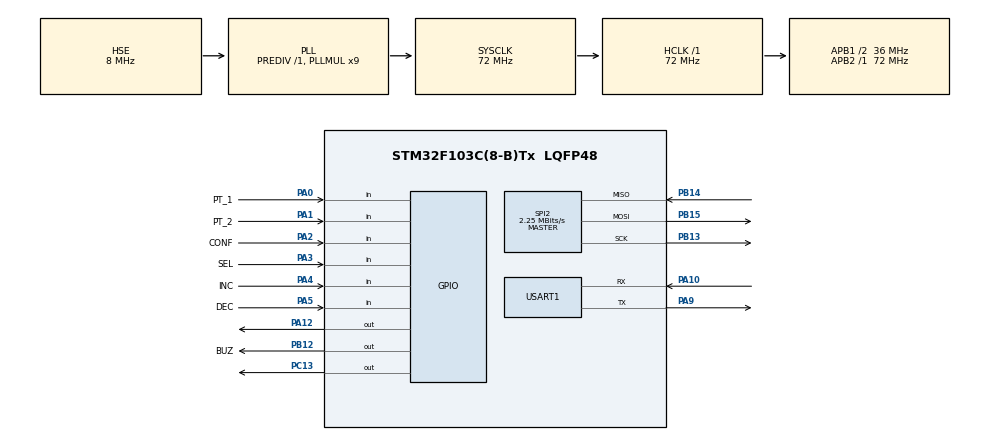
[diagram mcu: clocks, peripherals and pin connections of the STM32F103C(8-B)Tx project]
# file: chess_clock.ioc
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Mcu.Family=STM32F1
Mcu.Name=STM32F103C(8-B)Tx
Mcu.Package=LQFP48
NVIC.PriorityGroup=NVIC_PRIORITYGROUP_4
NVIC.TIM2_IRQn=true\:0\:0\:false\:false\:true\:true\:true\:true
PA0-WKUP.GPIO_Label=PT_1
PA0-WKUP.GPIO_PuPd=GPIO_PULLDOWN
PA0-WKUP.Signal=GPIO_Input
PA1.GPIO_Label=PT_2
PA1.GPIO_PuPd=GPIO_PULLDOWN
PA1.Signal=GPIO_Input
PA10.Mode=Asynchronous
PA10.Signal=USART1_RX
PA12.Signal=GPIO_Output
PA13.Mode=Serial_Wire
PA13.Signal=SYS_JTMS-SWDIO
PA14.Mode=Serial_Wire
PA14.Signal=SYS_JTCK-SWCLK
PA2.GPIO_Label=CONF
PA2.GPIO_PuPd=GPIO_PULLDOWN
PA2.Signal=GPIO_Input
PA3.GPIO_Label=SEL
PA3.GPIO_PuPd=GPIO_PULLDOWN
PA3.Signal=GPIO_Input
PA4.GPIO_Label=INC
PA4.GPIO_PuPd=GPIO_PULLDOWN
PA4.Signal=GPIO_Input
PA5.GPIO_Label=DEC
PA5.GPIO_PuPd=GPIO_PULLDOWN
PA5.Signal=GPIO_Input
PA9.Mode=Asynchronous
PA9.Signal=USART1_TX
PB12.GPIO_Label=BUZ
PB12.Signal=GPIO_Output
PB13.Mode=Full_Duplex_Master
PB13.Signal=SPI2_SCK
PB14.Mode=Full_Duplex_Master
PB14.Signal=SPI2_MISO
PB15.Mode=Full_Duplex_Master
PB15.Signal=SPI2_MOSI
PC13-TAMPER-RTC.Signal=GPIO_Output
PD0-OSC_IN.Mode=HSE-External-Oscillator
PD0-OSC_IN.Signal=RCC_OSC_IN
PD1-OSC_OUT.Mode=HSE-External-Oscillator
PD1-OSC_OUT.Signal=RCC_OSC_OUT
ProjectManager.HeapSize=0x200
ProjectManager.StackSize=0x400
ProjectManager.TargetToolchain=STM32CubeIDE
RCC.AHBFreq_Value=72000000
RCC.APB1CLKDivider=RCC_HCLK_DIV2
RCC.APB1Freq_Value=36000000
RCC.APB1TimFreq_Value=72000000
RCC.APB2Freq_Value=72000000
RCC.APB2TimFreq_Value=72000000
RCC.HCLKFreq_Value=72000000
RCC.PLLMUL=RCC_PLL_MUL9
RCC.PLLSourceVirtual=RCC_PLLSOURCE_HSE
RCC.SYSCLKFreq_VALUE=72000000
RCC.SYSCLKSource=RCC_SYSCLKSOURCE_PLLCLK
RCC.USBFreq_Value=72000000
SPI2.BaudRatePrescaler=SPI_BAUDRATEPRESCALER_16
SPI2.CalculateBaudRate=2.25 MBits/s
SPI2.Direction=SPI_DIRECTION_2LINES
SPI2.Mode=SPI_MODE_MASTER
SPI2.VirtualType=VM_MASTER
TIM2.Period=9999
TIM2.Prescaler=7199
USART1.VirtualMode=VM_ASYNC
VP_TIM2_VS_ClockSourceINT.Mode=Internal
board=custom

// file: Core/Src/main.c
/* USER CODE BEGIN Header */
/**
  ******************************************************************************
  * @file           : main.c
  * @brief          : Main program body
  ******************************************************************************
  * @attention
  *
  * Copyright (c) 2025 STMicroelectronics.
  * All rights reserved.
  *
  * This software is licensed under terms that can be found in the LICENSE file
  * in the root directory of this software component.
  * If no LICENSE file comes with this software, it is provided AS-IS.
  *
  ******************************************************************************
  */
/* USER CODE END Header */
#include "main.h"

/* USER CODE BEGIN Includes */
#include <stdbool.h>
#include <stdio.h>
#include <string.h>
#include "max7219.h"

#define FLASH_USER_START_ADDR   ((uint32_t)0x0800FC00)
#define MAX7219_CS_PORT GPIOA
#define MAX7219_CS_PIN GPIO_PIN_12

typedef struct {
    uint32_t player1_timer;
    uint32_t player2_timer;
    uint32_t last_timer;
    uint8_t  select_minute;
    uint8_t  enable_p1;
    uint8_t  enable_p2;
    uint32_t checksum;  // Verificação de integridade
} AppData_t;
/* USER CODE END Includes */

SPI_HandleTypeDef hspi2;

TIM_HandleTypeDef htim2;

UART_HandleTypeDef huart1;

/* USER CODE BEGIN PV */
int PLAYER_1_TIMER = 120, PLAYER_2_TIMER = 120;
int LAST_TIMER = 10;
bool SELECT_MINUTE = false;
bool ENABLE_PLAYER_1_TIMER = false, ENABLE_PLAYER_2_TIMER = false;
volatile bool IS_CONFIG_MODE = false;

// Estados anteriores dos botões
GPIO_PinState prev_PT1 = GPIO_PIN_RESET;
GPIO_PinState prev_PT2 = GPIO_PIN_RESET;
GPIO_PinState prev_CONF = GPIO_PIN_RESET;
GPIO_PinState prev_CONF_SALVAR = GPIO_PIN_RESET;
GPIO_PinState prev_SEL = GPIO_PIN_RESET;
GPIO_PinState prev_INC = GPIO_PIN_RESET;
GPIO_PinState prev_DEC = GPIO_PIN_RESET;
/* USER CODE END PV */

void SystemClock_Config(void);
static void MX_GPIO_Init(void);
static void MX_TIM2_Init(void);
static void MX_USART1_UART_Init(void);
static void MX_SPI2_Init(void);

/* USER CODE BEGIN 0 */
void update_display(){
	int p1_minutes = PLAYER_1_TIMER / 60;
	int p1_seconds = PLAYER_1_TIMER % 60;

	int p2_minutes = PLAYER_2_TIMER / 60;
	int p2_seconds = PLAYER_2_TIMER % 60;

	const uint8_t digit_to_segment[] = {
	        MAX7219_SYM_0,
	        MAX7219_SYM_1,
	        MAX7219_SYM_2,
	        MAX7219_SYM_3,
	        MAX7219_SYM_4,
	        MAX7219_SYM_5,
	        MAX7219_SYM_6,
	        MAX7219_SYM_7,
	        MAX7219_SYM_8,
	        MAX7219_SYM_9
	    };

	 // PLAYER 1
	    max7219_SendData(8, digit_to_segment[p1_minutes / 10]);
	    max7219_SendData(7, digit_to_segment[p1_minutes % 10] | 0x80);  // ponto
	    max7219_SendData(6, digit_to_segment[p1_seconds / 10]);
	    max7219_SendData(5, digit_to_segment[p1_seconds % 10]);

	    // PLAYER 2
	    max7219_SendData(4, digit_to_segment[p2_minutes / 10]);
	    max7219_SendData(3, digit_to_segment[p2_minutes % 10] | 0x80);  // ponto
	    max7219_SendData(2, digit_to_segment[p2_seconds / 10]);
	    max7219_SendData(1, digit_to_segment[p2_seconds % 10]);
}

void HAL_TIM_PeriodElapsedCallback(TIM_HandleTypeDef *htim){
    if (htim->Instance == TIM2){
    	if (!IS_CONFIG_MODE) {
			// Decrementa o timer do player ativo
			HAL_GPIO_TogglePin(GPIOC, GPIO_PIN_13);
			if(ENABLE_PLAYER_1_TIMER){
				if(PLAYER_1_TIMER >= 1){
					PLAYER_1_TIMER--;
				}
			}
			else if(ENABLE_PLAYER_2_TIMER){
				if(PLAYER_2_TIMER >= 1){
					PLAYER_2_TIMER--;
				}
			}
			update_display();
		}
    }
}

void format_time(int total_seconds) {
    int minutes = total_seconds / 60;
    int seconds = total_seconds % 60;
    char buffer[100]; // Espaço suficiente para a string formatada

    // Aqui está o erro: você usou "buffer_size" e "length" sem declará-los corretamente.
    int length = snprintf(buffer, sizeof(buffer), "TIME: %02d:%02d\r\n", minutes, seconds);

    HAL_UART_Transmit(&huart1, (uint8_t *)buffer, length, HAL_MAX_DELAY);
}

void players_time(int time_p1, int time_p2) {
    int p1_minutes = time_p1 / 60;
    int p1_seconds = time_p1 % 60;

    int p2_minutes = time_p2 / 60;
    int p2_seconds = time_p2 % 60;
    char buffer[100]; // Espaço suficiente para a string formatada

    // Aqui está o erro: você usou "buffer_size" e "length" sem declará-los corretamente.
    int length = snprintf(buffer, sizeof(buffer), "PLAYER_1: %02d:%02d PLAYER_2: %02d:%02d\r\n", p1_minutes, p1_seconds,p2_minutes, p2_seconds);
    HAL_UART_Transmit(&huart1, (uint8_t *)buffer, length, HAL_MAX_DELAY);
}

void buzzer() {
      char buffer[100]; // Espaço suficiente para a string formatada
		  int length = snprintf(buffer, sizeof(buffer), "BUZZERRR\r\n");
		  HAL_UART_Transmit(&huart1, (uint8_t *)buffer, length, HAL_MAX_DELAY);
      HAL_GPIO_WritePin(BUZ_GPIO_Port, BUZ_Pin, GPIO_PIN_SET);   // Liga o buzzer
      HAL_Delay(500);
      HAL_GPIO_WritePin(BUZ_GPIO_Port, BUZ_Pin, GPIO_PIN_RESET); // Desliga o buzzer
      HAL_Delay(500);
      HAL_GPIO_WritePin(BUZ_GPIO_Port, BUZ_Pin, GPIO_PIN_SET);   // Liga o buzzer
      HAL_Delay(500);
      HAL_GPIO_WritePin(BUZ_GPIO_Port, BUZ_Pin, GPIO_PIN_RESET); // Desliga o buzzer
      HAL_Delay(500);
      HAL_GPIO_WritePin(BUZ_GPIO_Port, BUZ_Pin, GPIO_PIN_SET);   // Liga o buzzer
      HAL_Delay(1000);
      HAL_GPIO_WritePin(BUZ_GPIO_Port, BUZ_Pin, GPIO_PIN_RESET); // Desliga o buzzer
}

void Flash_Save_LastTimer(uint32_t time)
{
    HAL_FLASH_Unlock();  // Desbloqueia a flash para escrita

    // Apaga a página onde será salvo
    FLASH_EraseInitTypeDef EraseInitStruct;
    uint32_t PageError = 0;

    EraseInitStruct.TypeErase = FLASH_TYPEERASE_PAGES;
    EraseInitStruct.PageAddress = FLASH_USER_START_ADDR;
    EraseInitStruct.NbPages = 1;

    if (HAL_FLASHEx_Erase(&EraseInitStruct, &PageError) != HAL_OK)
    {
        HAL_FLASH_Lock();
        return;
    }

    // Grava o dado (4 bytes)
    HAL_FLASH_Program(FLASH_TYPEPROGRAM_WORD, FLASH_USER_START_ADDR, time);

    HAL_FLASH_Lock(); // Bloqueia a flash novamente
}

uint32_t Flash_Read_LastTimer()
{
    return *(uint32_t*)FLASH_USER_START_ADDR;
}

uint32_t CalculateChecksum(AppData_t *data) {
    uint32_t *ptr = (uint32_t *)data;
    uint32_t sum = 0;

    for (int i = 0; i < (sizeof(AppData_t) - sizeof(uint32_t)) / 4; i++) {
        sum += ptr[i];
    }

    return sum;
}

void SaveAppDataToFlash(AppData_t *data) {
    HAL_FLASH_Unlock();

    // Apaga a página
    FLASH_EraseInitTypeDef eraseInit;
    uint32_t pageError = 0;

    eraseInit.TypeErase = FLASH_TYPEERASE_PAGES;
    eraseInit.PageAddress = FLASH_USER_START_ADDR;
    eraseInit.NbPages = 1;

    if (HAL_FLASHEx_Erase(&eraseInit, &pageError) != HAL_OK) {
        HAL_FLASH_Lock();
        return;
    }

    // Calcula o checksum
    data->checksum = CalculateChecksum(data);

    // Grava palavra por palavra (32 bits)
    uint32_t *src = (uint32_t *)data;
    for (uint32_t i = 0; i < sizeof(AppData_t) / 4; i++) {
        HAL_FLASH_Program(FLASH_TYPEPROGRAM_WORD, FLASH_USER_START_ADDR + i * 4, src[i]);
    }

    HAL_FLASH_Lock();
}

void Save(){
     AppData_t appData = {
    .player1_timer = PLAYER_1_TIMER,
    .player2_timer = PLAYER_2_TIMER,
    .last_timer = LAST_TIMER,
    .select_minute = SELECT_MINUTE,
    .enable_p1 = ENABLE_PLAYER_1_TIMER,
    .enable_p2 = ENABLE_PLAYER_2_TIMER};
    SaveAppDataToFlash(&appData);
}

bool LoadAppDataFromFlash(AppData_t *data) {
    AppData_t *stored = (AppData_t *)FLASH_USER_START_ADDR;

    // Copia da flash para RAM
    memcpy(data, stored, sizeof(AppData_t));

    // Verifica se está apagado
    if (*(uint32_t *)stored == 0xFFFFFFFF) {
        return false;
    }

    // Valida checksum
    uint32_t expected = CalculateChecksum(data);
    return (expected == data->checksum);
}

void display_timer_config() {
    int minutes = LAST_TIMER / 60;
    int seconds = LAST_TIMER % 60;

    const uint8_t digit_to_segment[] = {
        MAX7219_SYM_0,
        MAX7219_SYM_1,
        MAX7219_SYM_2,
        MAX7219_SYM_3,
        MAX7219_SYM_4,
        MAX7219_SYM_5,
        MAX7219_SYM_6,
        MAX7219_SYM_7,
        MAX7219_SYM_8,
        MAX7219_SYM_9
    };

    uint8_t min_tens = digit_to_segment[minutes / 10];
    uint8_t min_units = digit_to_segment[minutes % 10];
    uint8_t sec_tens = digit_to_segment[seconds / 10];
    uint8_t sec_units = digit_to_segment[seconds % 10];

    // Acende o ponto decimal na parte selecionada
    if (SELECT_MINUTE) {
        min_units |= 0x80;  // bit 7 acende o ponto decimal
    } else {
        sec_units |= 0x80;
    }

    // Mostra no display do Player 1 (4 dígitos do meio)
    max7219_SendData(8, min_tens);
    max7219_SendData(7, min_units);
    max7219_SendData(6, sec_tens);
    max7219_SendData(5, sec_units);

    // Limpa o display do Player 2
    max7219_SendData(4, MAX7219_SYM_BLANK);
    max7219_SendData(3, MAX7219_SYM_BLANK);
    max7219_SendData(2, MAX7219_SYM_BLANK);
    max7219_SendData(1, MAX7219_SYM_BLANK);
}

/* USER CODE END 0 */

int main(void)
{

  /* MCU Configuration--------------------------------------------------------*/

  /* Reset of all peripherals, Initializes the Flash interface and the Systick. */
  HAL_Init();

  /* Configure the system clock */
  SystemClock_Config();

  /* Initialize all configured peripherals */
  MX_GPIO_Init();
  MX_TIM2_Init();
  MX_USART1_UART_Init();
  MX_SPI2_Init();
  /* USER CODE BEGIN 2 */
  max7219_Init();
  max7219_SetIntensivity(7);
  max7219_TurnOn();
  update_display();

  if (HAL_TIM_Base_Start_IT(&htim2) != HAL_OK)
    {
      /* Starting Error */
      Error_Handler();
    }
  /* USER CODE END 2 */

  /* Infinite loop */
  /* USER CODE BEGIN WHILE */

  while (1)
  {
	char buffer[100]; // Enough space for both messages

    players_time(PLAYER_1_TIMER,PLAYER_2_TIMER);

    // JOGADOR 1
    GPIO_PinState current_PT1 = HAL_GPIO_ReadPin(GPIOA, PT_1_Pin);
    if (prev_PT1 == GPIO_PIN_RESET && current_PT1 == GPIO_PIN_SET) {
        HAL_Delay(50); // Wait for bouncing to settle
        if (HAL_GPIO_ReadPin(GPIOA, PT_1_Pin) == GPIO_PIN_SET){
          ENABLE_PLAYER_1_TIMER = false;
          ENABLE_PLAYER_2_TIMER = true;
          Save();
        }
    }
    prev_PT1 = current_PT1;

    // JOGADOR 2
    GPIO_PinState current_PT2 = HAL_GPIO_ReadPin(GPIOA, PT_2_Pin);
    if (prev_PT2 == GPIO_PIN_RESET && current_PT2 == GPIO_PIN_SET)
	  	  {
	  	      HAL_Delay(50); // Wait for bouncing to settle
	  	      if (HAL_GPIO_ReadPin(GPIOA, PT_2_Pin) == GPIO_PIN_SET)
	  	      {
	  	    	  ENABLE_PLAYER_1_TIMER = true;
	  	    	  ENABLE_PLAYER_2_TIMER = false;
	  	    	  Save();
	  	      }
	  	  }

    prev_PT2 = current_PT2;

    // CONFIG
    GPIO_PinState current_CONF = HAL_GPIO_ReadPin(GPIOA, CONF_Pin);
        if (prev_CONF == GPIO_PIN_RESET && current_CONF == GPIO_PIN_SET)
        {
            HAL_Delay(50);
            if (HAL_GPIO_ReadPin(GPIOA, CONF_Pin) == GPIO_PIN_SET)
            {
                int length = snprintf(buffer, sizeof(buffer), "CONFIG\r\n");
                HAL_UART_Transmit(&huart1, (uint8_t *)buffer, length, HAL_MAX_DELAY);

                ENABLE_PLAYER_1_TIMER = false;
                ENABLE_PLAYER_2_TIMER = false;

                int pressed = 0;
                IS_CONFIG_MODE = true;
                while (pressed == 0)
                {
                    format_time(LAST_TIMER);
                    display_timer_config();

                    // SEL - Alternar entre minutos e segundos
                    GPIO_PinState current_SEL = HAL_GPIO_ReadPin(GPIOA, SEL_Pin);
                    if (prev_SEL == GPIO_PIN_RESET && current_SEL == GPIO_PIN_SET)
                    {
                        HAL_Delay(50);
                        if (HAL_GPIO_ReadPin(GPIOA, SEL_Pin) == GPIO_PIN_SET)
                        {
                            SELECT_MINUTE = !SELECT_MINUTE;
                            Save();
                        }
                    }
                    prev_SEL = current_SEL;

                    // INC - Incrementar tempo
                    GPIO_PinState current_INC = HAL_GPIO_ReadPin(GPIOA, INC_Pin);
                    if (prev_INC == GPIO_PIN_RESET && current_INC == GPIO_PIN_SET)
                    {
                        HAL_Delay(50);
                        if (HAL_GPIO_ReadPin(GPIOA, INC_Pin) == GPIO_PIN_SET)
                        {
                            if (SELECT_MINUTE)
                            {
                                if (LAST_TIMER < 59 * 60)
                                    LAST_TIMER += 60;
                            }
                            else
                            {
                                if (LAST_TIMER < (59 * 60) + 59)
                                    LAST_TIMER += 1;
                            }
                        }
                        Save();
                    }
                    prev_INC = current_INC;

                    // DEC - Decrementar tempo
                    GPIO_PinState current_DEC = HAL_GPIO_ReadPin(GPIOA, DEC_Pin);
                    if (prev_DEC == GPIO_PIN_RESET && current_DEC == GPIO_PIN_SET)
                    {
                        HAL_Delay(50);
                        if (HAL_GPIO_ReadPin(GPIOA, DEC_Pin) == GPIO_PIN_SET)
                        {
                            if (SELECT_MINUTE)
                            {
                                if (LAST_TIMER >= 60)
                                    LAST_TIMER -= 60;
                                else
                                    LAST_TIMER = 10;
                            }
                            else
                            {
                                if (LAST_TIMER > 10)
                                    LAST_TIMER -= 1;
                                else
                                    LAST_TIMER = 10;
                            }
                            Save();
                        }
                    }
                    prev_DEC = current_DEC;

                    // CONF - Confirmar configuração e sair do menu
                    GPIO_PinState current_CONF_SALVAR = HAL_GPIO_ReadPin(GPIOA, CONF_Pin);
                    if (prev_CONF_SALVAR == GPIO_PIN_RESET && current_CONF_SALVAR == GPIO_PIN_SET)
                    {
                        HAL_Delay(50);
                        if (HAL_GPIO_ReadPin(GPIOA, CONF_Pin) == GPIO_PIN_SET)
                        {
                            PLAYER_1_TIMER = LAST_TIMER;
                            PLAYER_2_TIMER = LAST_TIMER;
                            Save();
                            pressed = 1;
                        }
                    }
                    prev_CONF_SALVAR = current_CONF_SALVAR;

                        // JOGADOR 1
                        GPIO_PinState current_PT1 = HAL_GPIO_ReadPin(GPIOA, PT_1_Pin);
                        if (prev_PT1 == GPIO_PIN_RESET && current_PT1 == GPIO_PIN_SET) {
                            HAL_Delay(50); // Wait for bouncing to settle
                            if (HAL_GPIO_ReadPin(GPIOA, PT_1_Pin) == GPIO_PIN_SET){
                              ENABLE_PLAYER_1_TIMER = false;
                              ENABLE_PLAYER_2_TIMER = true;
                              Save();
                              pressed = 1;
                            }
                        }
                        prev_PT1 = current_PT1;

                        // JOGADOR 2
                        GPIO_PinState current_PT2 = HAL_GPIO_ReadPin(GPIOA, PT_2_Pin);
                        if (prev_PT2 == GPIO_PIN_RESET && current_PT2 == GPIO_PIN_SET)
                            {
                                HAL_Delay(50); // Wait for bouncing to settle
                                if (HAL_GPIO_ReadPin(GPIOA, PT_2_Pin) == GPIO_PIN_SET)
                                {
                                  ENABLE_PLAYER_1_TIMER = true;
                                  ENABLE_PLAYER_2_TIMER = false;
                                  Save();
                                  pressed = 1;
                                }
                            }

                        prev_PT2 = current_PT2;
                }
                IS_CONFIG_MODE = false;
            }
        }
    prev_CONF = current_CONF;

    // TEMPO ESGOTADO
	  if (PLAYER_1_TIMER == 0 || PLAYER_2_TIMER == 0)
	  {

      players_time(PLAYER_1_TIMER,PLAYER_2_TIMER);
      buzzer();

      int pressed = 0;
        while (pressed == 0)
        {
          current_CONF = HAL_GPIO_ReadPin(GPIOA, CONF_Pin);
          if (prev_CONF == GPIO_PIN_RESET && current_CONF == GPIO_PIN_SET)
            {
            HAL_Delay(50);
            if (HAL_GPIO_ReadPin(GPIOA, CONF_Pin) == GPIO_PIN_SET)
            {
            ENABLE_PLAYER_1_TIMER = false;
            ENABLE_PLAYER_2_TIMER = false;
            PLAYER_1_TIMER = LAST_TIMER;
            PLAYER_2_TIMER = LAST_TIMER;
            Save();
            pressed = 1;
            }}
          }
          prev_CONF = current_CONF;
	  }

    /* USER CODE END WHILE */

  }
}

void SystemClock_Config(void)
{
  RCC_OscInitTypeDef RCC_OscInitStruct = {0};
  RCC_ClkInitTypeDef RCC_ClkInitStruct = {0};

  /** Initializes the RCC Oscillators according to the specified parameters
  * in the RCC_OscInitTypeDef structure.
  */
  RCC_OscInitStruct.OscillatorType = RCC_OSCILLATORTYPE_HSE;
  RCC_OscInitStruct.HSEState = RCC_HSE_ON;
  RCC_OscInitStruct.HSEPredivValue = RCC_HSE_PREDIV_DIV1;
  RCC_OscInitStruct.HSIState = RCC_HSI_ON;
  RCC_OscInitStruct.PLL.PLLState = RCC_PLL_ON;
  RCC_OscInitStruct.PLL.PLLSource = RCC_PLLSOURCE_HSE;
  RCC_OscInitStruct.PLL.PLLMUL = RCC_PLL_MUL9;
  if (HAL_RCC_OscConfig(&RCC_OscInitStruct) != HAL_OK)
  {
    Error_Handler();
  }

  /** Initializes the CPU, AHB and APB buses clocks
  */
  RCC_ClkInitStruct.ClockType = RCC_CLOCKTYPE_HCLK|RCC_CLOCKTYPE_SYSCLK
                              |RCC_CLOCKTYPE_PCLK1|RCC_CLOCKTYPE_PCLK2;
  RCC_ClkInitStruct.SYSCLKSource = RCC_SYSCLKSOURCE_PLLCLK;
  RCC_ClkInitStruct.AHBCLKDivider = RCC_SYSCLK_DIV1;
  RCC_ClkInitStruct.APB1CLKDivider = RCC_HCLK_DIV2;
  RCC_ClkInitStruct.APB2CLKDivider = RCC_HCLK_DIV1;

  if (HAL_RCC_ClockConfig(&RCC_ClkInitStruct, FLASH_LATENCY_2) != HAL_OK)
  {
    Error_Handler();
  }
}

static void MX_SPI2_Init(void)
{

  /* SPI2 parameter configuration*/
  hspi2.Instance = SPI2;
  hspi2.Init.Mode = SPI_MODE_MASTER;
  hspi2.Init.Direction = SPI_DIRECTION_2LINES;
  hspi2.Init.DataSize = SPI_DATASIZE_8BIT;
  hspi2.Init.CLKPolarity = SPI_POLARITY_LOW;
  hspi2.Init.CLKPhase = SPI_PHASE_1EDGE;
  hspi2.Init.NSS = SPI_NSS_SOFT;
  hspi2.Init.BaudRatePrescaler = SPI_BAUDRATEPRESCALER_16;
  hspi2.Init.FirstBit = SPI_FIRSTBIT_MSB;
  hspi2.Init.TIMode = SPI_TIMODE_DISABLE;
  hspi2.Init.CRCCalculation = SPI_CRCCALCULATION_DISABLE;
  hspi2.Init.CRCPolynomial = 10;
  if (HAL_SPI_Init(&hspi2) != HAL_OK)
  {
    Error_Handler();
  }

}

static void MX_TIM2_Init(void)
{

  TIM_ClockConfigTypeDef sClockSourceConfig = {0};
  TIM_MasterConfigTypeDef sMasterConfig = {0};

  htim2.Instance = TIM2;
  htim2.Init.Prescaler = 7199;
  htim2.Init.CounterMode = TIM_COUNTERMODE_UP;
  htim2.Init.Period = 9999;
  htim2.Init.ClockDivision = TIM_CLOCKDIVISION_DIV1;
  htim2.Init.AutoReloadPreload = TIM_AUTORELOAD_PRELOAD_DISABLE;
  if (HAL_TIM_Base_Init(&htim2) != HAL_OK)
  {
    Error_Handler();
  }
  sClockSourceConfig.ClockSource = TIM_CLOCKSOURCE_INTERNAL;
  if (HAL_TIM_ConfigClockSource(&htim2, &sClockSourceConfig) != HAL_OK)
  {
    Error_Handler();
  }
  sMasterConfig.MasterOutputTrigger = TIM_TRGO_RESET;
  sMasterConfig.MasterSlaveMode = TIM_MASTERSLAVEMODE_DISABLE;
  if (HAL_TIMEx_MasterConfigSynchronization(&htim2, &sMasterConfig) != HAL_OK)
  {
    Error_Handler();
  }

}

static void MX_USART1_UART_Init(void)
{

  huart1.Instance = USART1;
  huart1.Init.BaudRate = 115200;
  huart1.Init.WordLength = UART_WORDLENGTH_8B;
  huart1.Init.StopBits = UART_STOPBITS_1;
  huart1.Init.Parity = UART_PARITY_NONE;
  huart1.Init.Mode = UART_MODE_TX_RX;
  huart1.Init.HwFlowCtl = UART_HWCONTROL_NONE;
  huart1.Init.OverSampling = UART_OVERSAMPLING_16;
  if (HAL_UART_Init(&huart1) != HAL_OK)
  {
    Error_Handler();
  }

}

static void MX_GPIO_Init(void)
{
  GPIO_InitTypeDef GPIO_InitStruct = {0};

  /* GPIO Ports Clock Enable */
  __HAL_RCC_GPIOC_CLK_ENABLE();
  __HAL_RCC_GPIOD_CLK_ENABLE();
  __HAL_RCC_GPIOA_CLK_ENABLE();
  __HAL_RCC_GPIOB_CLK_ENABLE();

  /*Configure GPIO pin Output Level */
  HAL_GPIO_WritePin(GPIOC, GPIO_PIN_13, GPIO_PIN_RESET);

  /*Configure GPIO pin Output Level */
  HAL_GPIO_WritePin(BUZ_GPIO_Port, BUZ_Pin, GPIO_PIN_RESET);

  /*Configure GPIO pin Output Level */
  HAL_GPIO_WritePin(GPIOA, GPIO_PIN_12, GPIO_PIN_RESET);

  /*Configure GPIO pin : PC13 */
  GPIO_InitStruct.Pin = GPIO_PIN_13;
  GPIO_InitStruct.Mode = GPIO_MODE_OUTPUT_PP;
  GPIO_InitStruct.Pull = GPIO_NOPULL;
  GPIO_InitStruct.Speed = GPIO_SPEED_FREQ_LOW;
  HAL_GPIO_Init(GPIOC, &GPIO_InitStruct);

  /*Configure GPIO pins : PT_1_Pin PT_2_Pin CONF_Pin SEL_Pin
                           INC_Pin DEC_Pin */
  GPIO_InitStruct.Pin = PT_1_Pin|PT_2_Pin|CONF_Pin|SEL_Pin
                          |INC_Pin|DEC_Pin;
  GPIO_InitStruct.Mode = GPIO_MODE_INPUT;
  GPIO_InitStruct.Pull = GPIO_PULLDOWN;
  HAL_GPIO_Init(GPIOA, &GPIO_InitStruct);

  /*Configure GPIO pin : BUZ_Pin */
  GPIO_InitStruct.Pin = BUZ_Pin;
  GPIO_InitStruct.Mode = GPIO_MODE_OUTPUT_PP;
  GPIO_InitStruct.Pull = GPIO_NOPULL;
  GPIO_InitStruct.Speed = GPIO_SPEED_FREQ_LOW;
  HAL_GPIO_Init(BUZ_GPIO_Port, &GPIO_InitStruct);

  /*Configure GPIO pin : PA12 */
  GPIO_InitStruct.Pin = GPIO_PIN_12;
  GPIO_InitStruct.Mode = GPIO_MODE_OUTPUT_PP;
  GPIO_InitStruct.Pull = GPIO_NOPULL;
  GPIO_InitStruct.Speed = GPIO_SPEED_FREQ_LOW;
  HAL_GPIO_Init(GPIOA, &GPIO_InitStruct);

}

void Error_Handler(void)
{
  __disable_irq();
  while (1)
  {
  }
}
